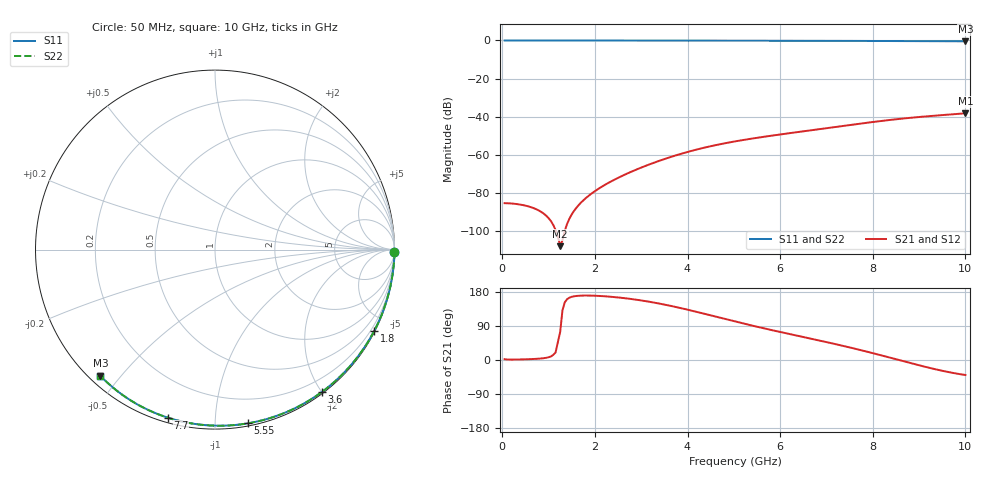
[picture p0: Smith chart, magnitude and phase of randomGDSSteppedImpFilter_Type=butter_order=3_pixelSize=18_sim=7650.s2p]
! freq	dB(S11)	phase(S11)	dB(S12)	phase(S12)
!  dB(S21)	phase(S21)	dB(S22)	phase(S22)
!S-par simulation data
#  GHz  S  DB  R 50
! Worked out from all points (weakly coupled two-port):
!   200 points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, 50 MHz to 10 GHz, reference 50 ohm
!   highest |S21| = -38.26 dB at 10 GHz (marker M1); lowest = -108.0 dB at 1.25 GHz (marker M2)
!   lowest |S11| = -0.4 dB at 10 GHz (marker M3), VSWR 38.93, Z = 1.54 - j22.1 ohm
!   |S11| at or under -10 dB: nowhere
!   |S22| runs from -0.4 to 0.0 dB; largest |S21 - S12| = 0
!   S11 on the Smith chart (normalised r, x): 50 MHz: open; 1.8 GHz: 0.04, -4.14; 3.6 GHz: 0.02, -2.00; 5.55 GHz: 0.02, -1.21; 7.7 GHz: 0.02, -0.76; 10 GHz: 0.03, -0.44
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0.05  -0.00 -0.8  -85.45 2.2  -85.45 2.2  -0.00 -0.8
0.65  -0.01 -9.9  -87.81 2.5  -87.81 2.5  -0.01 -9.9
1.25  -0.02 -18.9  -108.04 74.3  -108.04 74.3  -0.02 -18.9
1.75  -0.03 -26.4  -83.96 170.1  -83.96 170.1  -0.03 -26.4
1.8  -0.03 -27.1  -82.86 170.1  -82.86 170.1  -0.03 -27.1
1.95  -0.04 -29.3  -79.99 169.9  -79.99 169.9  -0.04 -29.3
2.25  -0.04 -33.7  -75.35 167.8  -75.35 167.8  -0.04 -33.7
2.55  -0.05 -38.1  -71.55 164.4  -71.55 164.4  -0.05 -38.1
2.95  -0.06 -43.9  -67.25 158.1  -67.25 158.1  -0.06 -43.9
3.4  -0.07 -50.2  -63.12 148.7  -63.12 148.7  -0.07 -50.2
3.6  -0.07 -53.0  -61.48 143.8  -61.48 143.8  -0.07 -53.0
3.95  -0.08 -57.9  -58.90 134.3  -58.90 134.3  -0.08 -57.9
4.3  -0.09 -62.7  -56.67 123.9  -56.67 123.9  -0.09 -62.7
4.65  -0.10 -67.4  -54.75 113.1  -54.75 113.1  -0.10 -67.4
5.05  -0.11 -72.7  -52.90 100.9  -52.90 100.9  -0.11 -72.7
5.55  -0.13 -79.2  -50.94 86.4  -50.94 86.4  -0.13 -79.2
6.1  -0.15 -86.2  -49.03 71.3  -49.03 71.3  -0.15 -86.2
6.7  -0.18 -93.7  -47.05 55.3  -47.05 55.3  -0.18 -93.7
7.7  -0.24 -105.7  -43.77 27.3  -43.77 27.3  -0.24 -105.7
8.35  -0.29 -113.4  -41.81 6.9  -41.81 6.9  -0.29 -113.4
9  -0.34 -120.9  -40.20 -14.0  -40.20 -14.0  -0.34 -120.9
10  -0.45 -132.3  -38.26 -39.6  -38.26 -39.6  -0.45 -132.3
